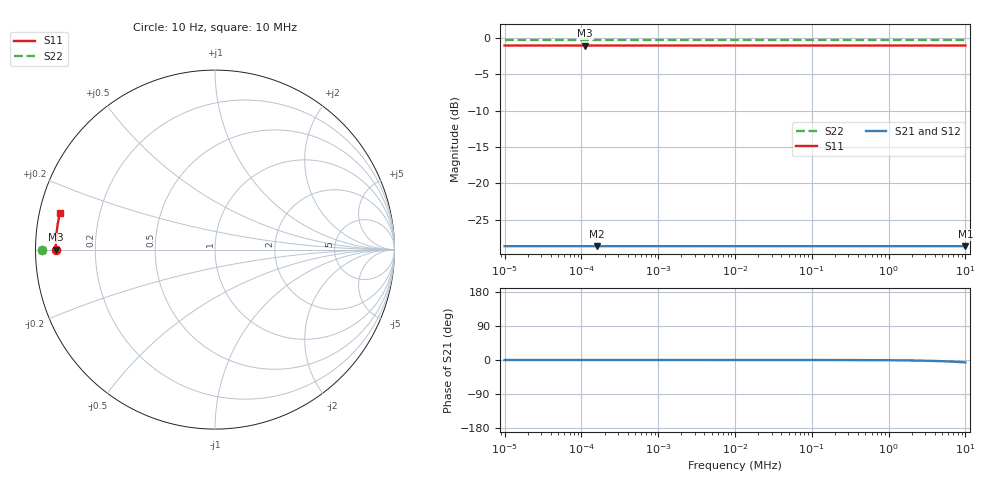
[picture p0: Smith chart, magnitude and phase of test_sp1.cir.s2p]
[Version] 2.0
# Hz Y RI R 50
[Number of Ports] 2
[Two-Port Data Order] 12_21
[Reference] 50 50
!  Freq  ReY11  ImY11  ReY12  ImY12  ReY21  ImY21  ReY22  ImY22
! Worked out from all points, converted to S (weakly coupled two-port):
!   121 points, 10 Hz to 10 MHz, reference 50 ohm
!   highest |S21| = -28.63 dB at 10 MHz (marker M1); lowest = -28.6 dB at 158.5 Hz (marker M2)
!   lowest |S11| = -1.0 dB at 112.2 Hz (marker M3), VSWR 16.78, Z = 2.98 + j6.43e-05 ohm
!   |S11| at or under -10 dB: nowhere
!   |S22| runs from -0.3 to -0.3 dB; largest |S21 - S12| = 7.8e-15
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[Number of Frequencies] 22
[Network Data]
10  0.5 -1.43e-06  -0.5 1.43e-06  -0.5 1.43e-06  1.5 -1.43e-06
100  0.5 -1.43e-05  -0.5 1.43e-05  -0.5 1.43e-05  1.5 -1.43e-05
112.2018  0.5 -1.61e-05  -0.5 1.61e-05  -0.5 1.61e-05  1.5 -1.61e-05
158.4893  0.5 -2.27e-05  -0.5 2.27e-05  -0.5 2.27e-05  1.5 -2.27e-05
1000  0.5 -0.000143  -0.5 0.000143  -0.5 0.000143  1.5 -0.000143
11220.18  0.5 -0.00161  -0.5 0.00161  -0.5 0.00161  1.5 -0.00161
100000  0.4996 -0.0143  -0.4996 0.0143  -0.4996 0.0143  1.5 -0.0143
223872.1  0.4979 -0.032  -0.4979 0.032  -0.4979 0.032  1.498 -0.032
398107.2  0.4936 -0.0563  -0.4936 0.0564  -0.4936 0.0564  1.494 -0.0563
630957.3  0.4841 -0.0876  -0.4841 0.0876  -0.4841 0.0876  1.484 -0.0876
1000000  0.462 -0.1324  -0.462 0.1326  -0.462 0.1326  1.462 -0.1324
1584893  0.4144 -0.1882  -0.4144 0.1884  -0.4144 0.1884  1.414 -0.1882
2238721  0.354 -0.2272  -0.354 0.2274  -0.354 0.2274  1.354 -0.2272
3162278  0.2743 -0.2486  -0.2743 0.2489  -0.2743 0.2489  1.274 -0.2486
3981072  0.217 -0.2475  -0.217 0.248  -0.217 0.248  1.217 -0.2475
5011872  0.1631 -0.234  -0.1631 0.2346  -0.1631 0.2346  1.163 -0.234
5623413  0.1388 -0.2235  -0.1388 0.2241  -0.1388 0.2241  1.139 -0.2235
6309573  0.117 -0.2112  -0.117 0.2119  -0.117 0.2119  1.117 -0.2112
7079458  0.0976 -0.1976  -0.0976 0.1984  -0.0976 0.1984  1.098 -0.1976
7943282  0.0808 -0.1834  -0.0808 0.1843  -0.0808 0.1843  1.081 -0.1834
8912509  0.0664 -0.169  -0.0664 0.17  -0.0664 0.17  1.066 -0.169
1e7  0.0542 -0.1547  -0.0542 0.1558  -0.0542 0.1558  1.054 -0.1547
[End]
